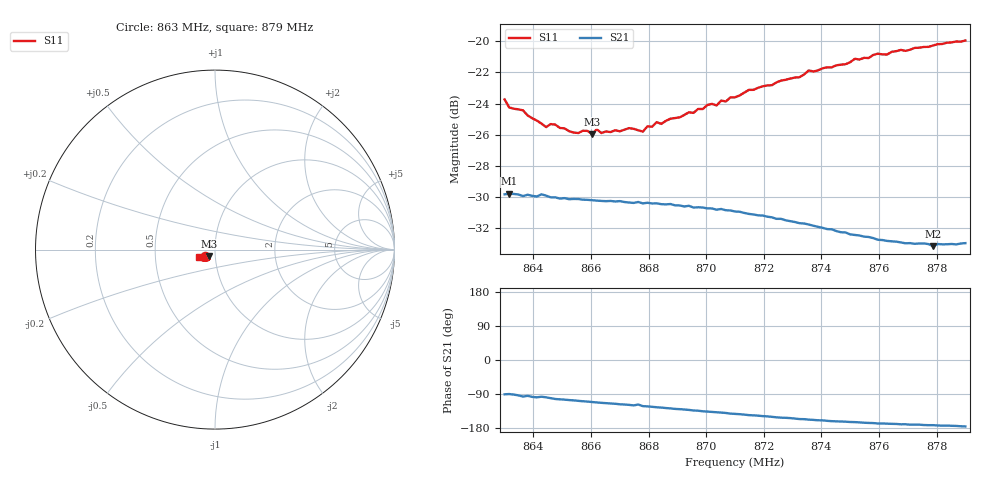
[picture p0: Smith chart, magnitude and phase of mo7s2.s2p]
# HZ S RI R 50
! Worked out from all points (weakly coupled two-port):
!   101 points, 863 MHz to 879 MHz, reference 50 ohm
!   highest |S21| = -29.79 dB at 863.16 MHz (marker M1); lowest = -33.2 dB at 877.88 MHz (marker M2)
!   lowest |S11| = -26.0 dB at 866.04 MHz (marker M3), VSWR 1.11, Z = 46.5 - j3.35 ohm
!   |S11| at or under -10 dB: start of sweep to end of sweep
!   S12 and S22 are empty: the file has one direction only
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8.63e8  -0.055 -0.0348  -0.000306 -0.0322  0 0  0 0
8.6316e8  -0.0497 -0.0359  9.2e-05 -0.0324  0 0  0 0
8.6364e8  -0.0486 -0.0352  -0.00358 -0.0316  0 0  0 0
8.6444e8  -0.041 -0.0336  -0.00473 -0.0316  0 0  0 0
8.646e8  -0.0423 -0.0339  -0.00587 -0.031  0 0  0 0
8.654e8  -0.0374 -0.0345  -0.00889 -0.0299  0 0  0 0
8.6572e8  -0.0363 -0.0367  -0.01 -0.0293  0 0  0 0
8.6604e8  -0.0352 -0.0359  -0.011 -0.0288  0 0  0 0
8.662e8  -0.0393 -0.0343  -0.0115 -0.0285  0 0  0 0
8.6636e8  -0.0348 -0.037  -0.012 -0.0283  0 0  0 0
8.6732e8  -0.0318 -0.0419  -0.0144 -0.0267  0 0  0 0
8.678e8  -0.0303 -0.0414  -0.0159 -0.0256  0 0  0 0
8.6828e8  -0.0303 -0.0459  -0.0172 -0.0248  0 0  0 0
8.6844e8  -0.0301 -0.0452  -0.0174 -0.0244  0 0  0 0
8.71e8  -0.0349 -0.0561  -0.0224 -0.0174  0 0  0 0
8.7148e8  -0.0382 -0.0584  -0.023 -0.0158  0 0  0 0
8.7324e8  -0.0468 -0.0607  -0.0238 -0.0106  0 0  0 0
8.7356e8  -0.0503 -0.063  -0.0238 -0.00994  0 0  0 0
8.7372e8  -0.0498 -0.0626  -0.0237 -0.00956  0 0  0 0
8.7644e8  -0.0717 -0.0584  -0.0223 -0.00454  0 0  0 0
8.7788e8  -0.0831 -0.05  -0.0218 -0.00307  0 0  0 0
8.79e8  -0.0908 -0.0434  -0.0224 -0.00183  0 0  0 0
